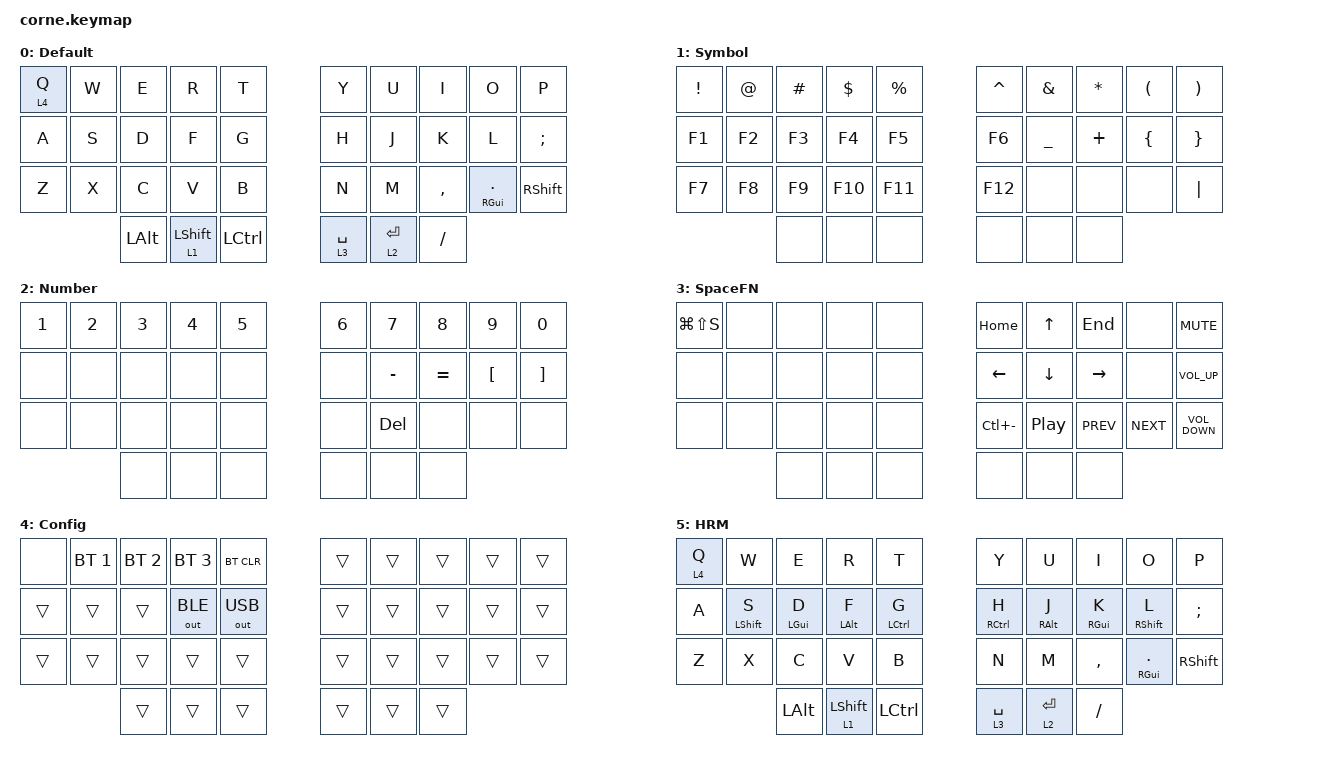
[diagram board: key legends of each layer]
/*
 * Copyright (c) 2020 The ZMK Contributors
 *
 * SPDX-License-Identifier: MIT
 */

#include <behaviors.dtsi>
#include <dt-bindings/zmk/bt.h>
#include <dt-bindings/zmk/keys.h>
#include <dt-bindings/zmk/outputs.h>

#define WIN      0
#define MAC      1
#define LOWER    2
#define RAISE    3
#define SPCFN    4
#define KBCFG    5

/* DEFAULT
         ,----------------------------------+     +----------------------------------.
         |   Q  |   W  |   E  |   R  |   T  |     |   Y  |   U  |   I  |   O  |   P  |
         |------+------+------+------+------+     +------+------+------+------+------|
         |   A  |   S  |   D  |   F  |   G  |     |   H  |   J  |   K  |   L  |   ;  |
         |------+------+------+------+------+     +------+------+------+------+------|
         |   Z  |   X  |   C  |   V  |   B  |     |   N  |   M  |   ,  |   .  | LGUI |
         '------+------+------+------+------+     +------+------+------+------+------'
                       | LAlt | SYMB | Ctrl |     | SpcFn| NUMB |   /  |
                       '--------------------'     '--------------------'*/
/* SYMBOL
         ,----------------------------------+     +----------------------------------.
         |   !  |   @  |   #  |   $  |   %  |     |   ^  |   &  |   *  |   (  |   )  |
         |------+------+------+------+------+     +------+------+------+------+------|
         |  F1  |  F2  |  F3  |  F4  |  F5  |     |  F6  |   _  |   +  |   {  |   }  |
         |------+------+------+------+------+     +------+------+------+------+------|
         |  F7  |  F8  |  F9  |  F10 |  F11 |     |  F12 |      |      |      |      |
         '------+------+------+------+------+     +------+------+------+------+------'
                       | LAlt | XXXX | Ctrl |     |SPC_FN| Raise|      |
                       '--------------------'     '--------------------'*/
/* NUMBER
         ,----------------------------------+     +----------------------------------.
         |   1  |   2  |   3  |   4  |   5  |     |   6  |   7  |   8  |   9  |   0  |
         |------+------+------+------+------+     +------+------+------+------+------|
         |      |      |      |  [   |  ]   |     |      |   _  |   +  |   [  |   ]  |
         |------+------+------+------+------+     +------+------+------+------+------|
         |      |  <   |  >   |  {   |  }   |     |  F12 | Del  |      |  <   |  >   |
         '------+------+------+------+------+     +------+------+------+------+------'
                       | LAlt | Lower| Ctrl |     |      | XXXX |      |
                       '--------------------'     '--------------------'*/
/* SPCFN
         ,----------------------------------+     +----------------------------------.
         |SCRSH |      |      |      |      |     | Home |  UP  | End  |      |      |
         |------+------+------+------+------+     +------+------+------+------+------|
         |      |      |      |      |      |     | LEFT | DOWN |RIGHT |      | Vol+ |
         |------+------+------+------+------+     +------+------+------+------+------|
         |      |      |      |      |      |     |VSPREV| Play | Prev | Next | Vol- |
         '------+------+------+------+------+     +------+------+------+------+------'
                       | LAlt |      |LCtrl |     | XXXX |      |      |
                       '--------------------'     '--------------------'*/
/* KBCFG
         ,----------------------------------+     +----------------------------------.
         | XXXX |BTSEL1|BTSEL2|BTSEL3|BT_CLR|     |      |      |      |      |      |
         |------+------+------+------+------+     +------+------+------+------+------|
         |      |      |      |OUTBLE|OUTUSB|     |      |      |      |      |      |
         |------+------+------+------+------+     +------+------+------+------+------|
         |      |      |      |      |      |     |      |      |      |      |      |
         '------+------+------+------+------+     +------+------+------+------+------'
                       |      |      |      |     |      |      |      |
                       '--------------------'     '--------------------'*/

/ {
    chosen { zmk,matrix_transform = &five_column_transform; };
};

/ {
    combos {
        compatible = "zmk,combos";

        c_esc {
            bindings = <&kp ESC>;
            key-positions = <0 1>;
        };

        c_tab {
            bindings = <&kp TAB>;
            key-positions = <11 10>;
        };

        c_lshft {
            bindings = <&kp LEFT_SHIFT>;
            key-positions = <20 21>;
        };

        c_bkspc {
            bindings = <&kp BACKSPACE>;
            key-positions = <8 9>;
        };
    };

    keymap {
        compatible = "zmk,keymap";

        default {
            bindings = <
  &lt 4 Q  &kp W  &kp E         &kp R             &kp T               &kp Y        &kp U        &kp I      &kp O                 &kp P
  &kp A    &kp S  &kp D         &kp F             &kp G               &kp H        &kp J        &kp K      &kp L                 &kp SEMI
  &kp Z    &kp X  &kp C         &kp V             &kp B               &kp N        &kp M        &kp COMMA  &mt RIGHT_GUI PERIOD  &kp RIGHT_SHIFT
                  &kp LEFT_ALT  &lt 1 LEFT_SHIFT  &kp LEFT_CONTROL    &lt 3 SPACE  &lt 2 ENTER  &kp SLASH
            >;

            label = "Default";
        };

        symbol_layer {
            bindings = <
  &kp EXCLAMATION  &kp AT_SIGN  &kp HASH  &kp DOLLAR  &kp PERCENT    &kp CARET  &kp AMPERSAND  &kp ASTERISK  &kp LEFT_PARENTHESIS  &kp RIGHT_PARENTHESIS
  &kp F1           &kp F2       &kp F3    &kp F4      &kp F5         &kp F6     &kp UNDER      &kp PLUS      &kp LEFT_BRACE        &kp RIGHT_BRACE
  &kp F7           &kp F8       &kp F9    &kp F10     &kp F11        &kp F12    &none          &none         &none                 &kp PIPE
                                &none     &none       &none          &none      &none          &none
            >;

            label = "Symbol";
        };

        number_layer {
            bindings = <
  &kp N1  &kp N2  &kp N3  &kp N4  &kp N5    &kp N6  &kp N7     &kp N8     &kp N9            &kp N0
  &none   &none   &none   &none   &none     &none   &kp MINUS  &kp EQUAL  &kp LEFT_BRACKET  &kp RIGHT_BRACKET
  &none   &none   &none   &none   &none     &none   &kp DEL    &none      &none             &none
                  &none   &none   &none     &none   &none      &none
            >;

            label = "Number";
        };

        space_fn_layer {
            bindings = <
  &kp LG(LS(S))  &none  &none  &none  &none    &kp HOME        &kp UP_ARROW      &kp END     &none       &kp C_MUTE
  &none          &none  &none  &none  &none    &kp LEFT_ARROW  &kp DOWN          &kp RIGHT   &none       &kp C_VOLUME_UP
  &none          &none  &none  &none  &none    &kp LC(MINUS)   &kp C_PLAY_PAUSE  &kp C_PREV  &kp C_NEXT  &kp C_VOLUME_DOWN
                        &none  &none  &none    &none           &none             &none
            >;

            label = "SpaceFN";
        };

        kb_config {
            bindings = <
  &none   &bt BT_SEL 1  &bt BT_SEL 2  &bt BT_SEL 3  &bt BT_CLR      &trans  &trans  &trans  &trans  &trans
  &trans  &trans        &trans        &out OUT_BLE  &out OUT_USB    &trans  &trans  &trans  &trans  &trans
  &trans  &trans        &trans        &trans        &trans          &trans  &trans  &trans  &trans  &trans
                        &trans        &trans        &trans          &trans  &trans  &trans
            >;

            label = "Config";
        };

        homerow_mods {
            label = "HRM";
            bindings = <
  &lt 4 Q  &kp W             &kp E           &kp R             &kp T                 &kp Y                &kp U            &kp I            &kp O                 &kp P
  &kp A    &mt LEFT_SHIFT S  &mt LEFT_GUI D  &mt LEFT_ALT F    &mt LEFT_CONTROL G    &mt RIGHT_CONTROL H  &mt RIGHT_ALT J  &mt RIGHT_GUI K  &mt RIGHT_SHIFT L     &kp SEMI
  &kp Z    &kp X             &kp C           &kp V             &kp B                 &kp N                &kp M            &kp COMMA        &mt RIGHT_GUI PERIOD  &kp RIGHT_SHIFT
                             &kp LEFT_ALT    &lt 1 LEFT_SHIFT  &kp LEFT_CONTROL      &lt 3 SPACE          &lt 2 ENTER      &kp SLASH
            >;
        };
    };
};
